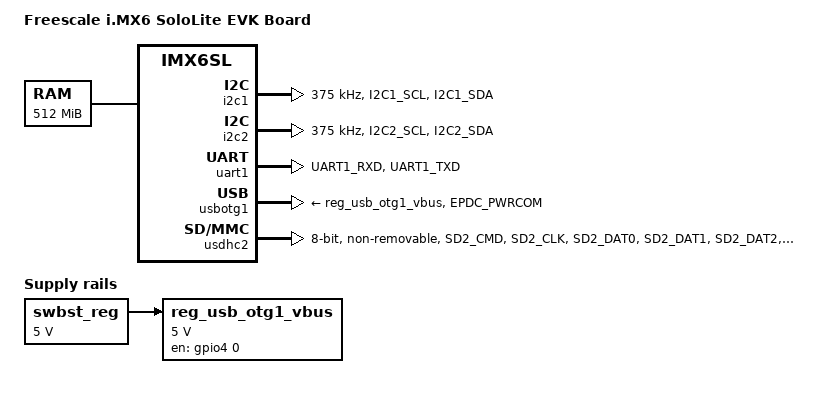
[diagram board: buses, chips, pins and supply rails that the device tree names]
// SPDX-License-Identifier: GPL-2.0
//
//Copyright (C) 2013 Freescale Semiconductor, Inc.

/dts-v1/;

#include <dt-bindings/gpio/gpio.h>
#include <dt-bindings/input/input.h>
#include "imx6sl.dtsi"

/ {
	model = "Freescale i.MX6 SoloLite EVK Board";
	compatible = "fsl,imx6sl-evk", "fsl,imx6sl", "fsl,imx6sl-kindle";

	chosen {
		stdout-path = &uart1;
	};

	memory@80000000 {
		device_type = "memory";
		reg = <0x80000000 0x20000000>;
	};

	swbst_reg: swbst {
		compatible = "regulator-fixed";
		regulator-name = "swbst";
		regulator-min-microvolt = <5000000>;
		regulator-max-microvolt = <5000000>;
		regulator-always-on;
	};

	reg_usb_otg1_vbus: regulator-usb-otg1-vbus {
		compatible = "regulator-fixed";
		regulator-name = "usb_otg1_vbus";
		regulator-min-microvolt = <5000000>;
		regulator-max-microvolt = <5000000>;
		gpio = <&gpio4 0 GPIO_ACTIVE_HIGH>;
		enable-active-high;
		vin-supply = <&swbst_reg>;
	};

};

&i2c1 {
	clock-frequency = <375000>;
	pinctrl-names = "default";
	pinctrl-0 = <&pinctrl_i2c1>;
	status = "okay";

};

&i2c2 {
	clock-frequency = <375000>;
	pinctrl-names = "default";
	pinctrl-0 = <&pinctrl_i2c2>;
	status = "okay";

};

&iomuxc {
	pinctrl-names = "default";

	pinctrl_i2c1: i2c1grp {
		fsl,pins = <
			MX6SL_PAD_I2C1_SCL__I2C1_SCL	0x4001b8b1
			MX6SL_PAD_I2C1_SDA__I2C1_SDA	0x4001b8b1
		>;
	};

	pinctrl_i2c2: i2c2grp {
		fsl,pins = <
			MX6SL_PAD_I2C2_SCL__I2C2_SCL	0x400108a8
			MX6SL_PAD_I2C2_SDA__I2C2_SDA	0x400108a8
		>;
	};

	pinctrl_uart1: uart1grp {
		fsl,pins = <
			MX6SL_PAD_UART1_RXD__UART1_RX_DATA	0x1b0b1
			MX6SL_PAD_UART1_TXD__UART1_TX_DATA	0x1b0b1
		>;
	};

	pinctrl_usbotg1: usbotg1grp {
		fsl,pins = <
			MX6SL_PAD_EPDC_PWRCOM__USB_OTG1_ID	0x17059
		>;
	};

	pinctrl_usdhc1: usdhc1grp {
		fsl,pins = <
			MX6SL_PAD_SD1_CMD__SD1_CMD		0x17059
			MX6SL_PAD_SD1_CLK__SD1_CLK		0x10059
			MX6SL_PAD_SD1_DAT0__SD1_DATA0		0x17059
			MX6SL_PAD_SD1_DAT1__SD1_DATA1		0x17059
			MX6SL_PAD_SD1_DAT2__SD1_DATA2		0x17059
			MX6SL_PAD_SD1_DAT3__SD1_DATA3		0x17059
			MX6SL_PAD_SD1_DAT4__SD1_DATA4		0x17059
			MX6SL_PAD_SD1_DAT5__SD1_DATA5		0x17059
			MX6SL_PAD_SD1_DAT6__SD1_DATA6		0x17059
			MX6SL_PAD_SD1_DAT7__SD1_DATA7		0x17059
		>;
	};

	pinctrl_usdhc1_100mhz: usdhc1-100mhz-grp {
		fsl,pins = <
			MX6SL_PAD_SD1_CMD__SD1_CMD		0x170b9
			MX6SL_PAD_SD1_CLK__SD1_CLK		0x100b9
			MX6SL_PAD_SD1_DAT0__SD1_DATA0		0x170b9
			MX6SL_PAD_SD1_DAT1__SD1_DATA1		0x170b9
			MX6SL_PAD_SD1_DAT2__SD1_DATA2		0x170b9
			MX6SL_PAD_SD1_DAT3__SD1_DATA3		0x170b9
			MX6SL_PAD_SD1_DAT4__SD1_DATA4		0x170b9
			MX6SL_PAD_SD1_DAT5__SD1_DATA5		0x170b9
			MX6SL_PAD_SD1_DAT6__SD1_DATA6		0x170b9
			MX6SL_PAD_SD1_DAT7__SD1_DATA7		0x170b9
		>;
	};

	pinctrl_usdhc1_200mhz: usdhc1-200mhz-grp {
		fsl,pins = <
			MX6SL_PAD_SD1_CMD__SD1_CMD		0x170f9
			MX6SL_PAD_SD1_CLK__SD1_CLK		0x100f9
			MX6SL_PAD_SD1_DAT0__SD1_DATA0		0x170f9
			MX6SL_PAD_SD1_DAT1__SD1_DATA1		0x170f9
			MX6SL_PAD_SD1_DAT2__SD1_DATA2		0x170f9
			MX6SL_PAD_SD1_DAT3__SD1_DATA3		0x170f9
			MX6SL_PAD_SD1_DAT4__SD1_DATA4		0x170f9
			MX6SL_PAD_SD1_DAT5__SD1_DATA5		0x170f9
			MX6SL_PAD_SD1_DAT6__SD1_DATA6		0x170f9
			MX6SL_PAD_SD1_DAT7__SD1_DATA7		0x170f9
		>;
	};

	pinctrl_usdhc2: usdhc2grp {
		fsl,pins = <
			MX6SL_PAD_SD2_CMD__SD2_CMD		0x17059
			MX6SL_PAD_SD2_CLK__SD2_CLK		0x10059
			MX6SL_PAD_SD2_DAT0__SD2_DATA0		0x17059
			MX6SL_PAD_SD2_DAT1__SD2_DATA1		0x17059
			MX6SL_PAD_SD2_DAT2__SD2_DATA2		0x17059
			MX6SL_PAD_SD2_DAT3__SD2_DATA3		0x17059
		>;
	};

	pinctrl_usdhc2_100mhz: usdhc2-100mhz-grp {
		fsl,pins = <
			MX6SL_PAD_SD2_CMD__SD2_CMD		0x170b9
			MX6SL_PAD_SD2_CLK__SD2_CLK		0x100b9
			MX6SL_PAD_SD2_DAT0__SD2_DATA0		0x170b9
			MX6SL_PAD_SD2_DAT1__SD2_DATA1		0x170b9
			MX6SL_PAD_SD2_DAT2__SD2_DATA2		0x170b9
			MX6SL_PAD_SD2_DAT3__SD2_DATA3		0x170b9
		>;
	};

	pinctrl_usdhc2_200mhz: usdhc2-200mhz-grp {
		fsl,pins = <
			MX6SL_PAD_SD2_CMD__SD2_CMD		0x170f9
			MX6SL_PAD_SD2_CLK__SD2_CLK		0x100f9
			MX6SL_PAD_SD2_DAT0__SD2_DATA0		0x170f9
			MX6SL_PAD_SD2_DAT1__SD2_DATA1		0x170f9
			MX6SL_PAD_SD2_DAT2__SD2_DATA2		0x170f9
			MX6SL_PAD_SD2_DAT3__SD2_DATA3		0x170f9
		>;
	};

};

&uart1 {
	pinctrl-names = "default";
	pinctrl-0 = <&pinctrl_uart1>;
	status = "okay";
};

&usbotg1 {
	vbus-supply = <&reg_usb_otg1_vbus>;
	pinctrl-names = "default";
	pinctrl-0 = <&pinctrl_usbotg1>;
	disable-over-current;
	status = "okay";
};

&usdhc1 {
	pinctrl-names = "default", "state_100mhz", "state_200mhz";
	pinctrl-0 = <&pinctrl_usdhc1>;
	pinctrl-1 = <&pinctrl_usdhc1_100mhz>;
	pinctrl-2 = <&pinctrl_usdhc1_200mhz>;

	bus-width = <4>;
	non-removable;

	status = "disabled"; // no need wifi in uboot
};

&usdhc2 {
	pinctrl-names = "default", "state_100mhz", "state_200mhz";
	pinctrl-0 = <&pinctrl_usdhc2>;
	pinctrl-1 = <&pinctrl_usdhc2_100mhz>;
	pinctrl-2 = <&pinctrl_usdhc2_200mhz>;

	bus-width = <8>;
	non-removable;

	status = "okay";
};
